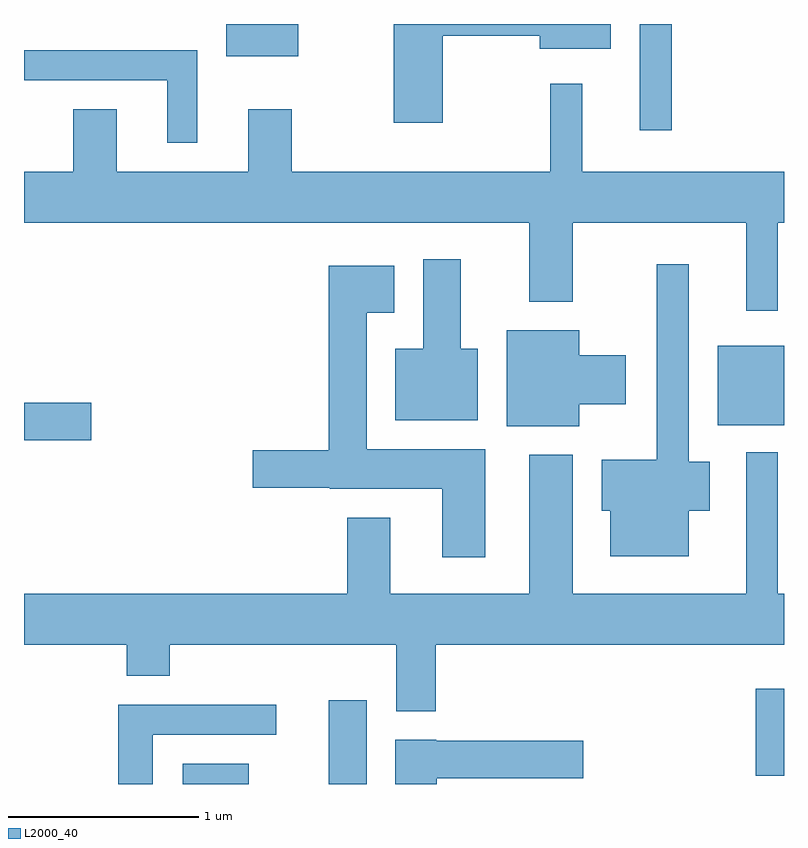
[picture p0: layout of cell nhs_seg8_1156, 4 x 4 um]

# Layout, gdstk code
import gdstk
lib = gdstk.Library(unit=1e-6, precision=1e-09)
def R(c, l, rs):  # rectangles x0, y0, x1, y1
    for r in rs: c.add(gdstk.rectangle(r[:2], r[2:], *l))
def P(c, l, *ps):  # polygons
    for p in ps: c.add(gdstk.Polygon(p, *l))
L2000_40 = (2000, 40)

nhs_seg8_1156 = lib.new_cell('nhs_seg8_1156')
R(nhs_seg8_1156, L2000_40, [(220.446,1842.342,220.794,1842.449), (221.216,1842.342,221.414,1842.784), (223.461,1842.386,223.611,1842.844), (219.611,1844.151,219.964,1844.349), (223.261,1844.231,223.611,1844.649), (222.851,1845.783,223.019,1846.342), (220.676,1846.171,221.054,1846.342)])
P(nhs_seg8_1156, L2000_40, [(221.814,1846.281),(222.326,1846.281),(222.326,1846.211),(222.699,1846.211),(222.699,1846.342),(221.556,1846.342),(221.556,1845.821),(221.814,1845.821)],
  [(220.524,1846.204),(219.611,1846.204),(219.611,1846.046),(220.366,1846.046),(220.366,1845.718),(220.524,1845.718)],
  [(223.579,1845.296),(223.611,1845.296),(223.611,1845.564),(222.549,1845.564),(222.549,1846.028),(222.381,1846.028),(222.381,1845.564),(221.019,1845.564),(221.019,1845.894),(220.791,1845.894),(220.791,1845.564),(220.099,1845.564),(220.099,1845.894),(219.871,1845.894),(219.871,1845.564),(219.611,1845.564),(219.611,1845.296),(222.271,1845.296),(222.271,1844.881),(222.499,1844.881),(222.499,1845.296),(223.411,1845.296),(223.411,1844.833),(223.579,1844.833)],
  [(221.999,1844.634),(221.909,1844.634),(221.909,1845.104),(221.711,1845.104),(221.711,1844.634),(221.566,1844.634),(221.566,1844.256),(221.999,1844.256)],
  [(223.109,1843.781),(223.219,1843.781),(223.219,1844.039),(223.109,1844.039),(223.109,1845.078),(222.941,1845.078),(222.941,1844.049),(222.651,1844.049),(222.651,1843.781),(222.696,1843.781),(222.696,1843.541),(223.109,1843.541)],
  [(222.039,1844.104),(221.414,1844.104),(221.414,1844.821),(221.559,1844.821),(221.559,1845.069),(221.216,1845.069),(221.216,1844.099),(220.816,1844.099),(220.816,1843.901),(221.22,1843.901),(221.22,1843.896),(221.811,1843.896),(221.811,1843.536),(222.039,1843.536)],
  [(222.534,1844.341),(222.779,1844.341),(222.779,1844.599),(222.534,1844.599),(222.534,1844.729),(222.151,1844.729),(222.151,1844.226),(222.534,1844.226)],
  [(221.779,1843.076),(223.611,1843.076),(223.611,1843.344),(223.579,1843.344),(223.579,1844.088),(223.411,1844.088),(223.411,1843.344),(222.499,1843.344),(222.499,1844.074),(222.271,1844.074),(222.271,1843.344),(221.539,1843.344),(221.539,1843.744),(221.311,1843.744),(221.311,1843.344),(219.611,1843.344),(219.611,1843.076),(220.151,1843.076),(220.151,1842.911),(220.379,1842.911),(220.379,1843.076),(221.571,1843.076),(221.571,1842.726),(221.779,1842.726)],
  [(220.289,1842.601),(220.938,1842.601),(220.938,1842.759),(220.106,1842.759),(220.106,1842.342),(220.289,1842.342)],
  [(221.784,1842.371),(222.554,1842.371),(222.554,1842.569),(221.78,1842.569),(221.78,1842.574),(221.566,1842.574),(221.566,1842.342),(221.784,1842.342)])

lib.write_gds('nhs_seg8_1156.gds')
